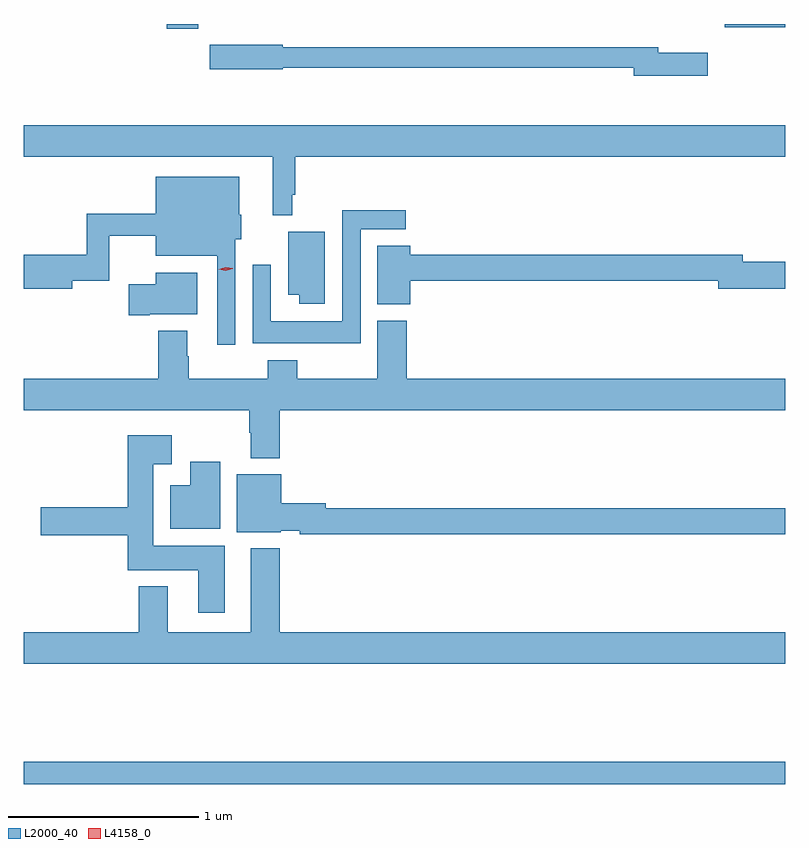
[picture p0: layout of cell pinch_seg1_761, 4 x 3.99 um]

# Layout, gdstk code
import gdstk
lib = gdstk.Library(unit=1e-6, precision=1e-09)
def R(c, l, rs):  # rectangles x0, y0, x1, y1
    for r in rs: c.add(gdstk.rectangle(r[:2], r[2:], *l))
def P(c, l, *ps):  # polygons
    for p in ps: c.add(gdstk.Polygon(p, *l))
L2000_40 = (2000, 40)
L4158_0 = (4158, 0)

pinch_seg1_761 = lib.new_cell('pinch_seg1_761')
R(pinch_seg1_761, L2000_40, [(779.521,521.796,783.521,521.912), (780.272,525.764,780.438,525.788), (783.202,525.772,783.521,525.788)])
P(pinch_seg1_761, L2000_40, [(783.115,525.637),(782.854,525.637),(782.854,525.666),(780.882,525.666),(780.882,525.679),(780.498,525.679),(780.498,525.55),(780.882,525.55),(780.882,525.558),(782.726,525.558),(782.726,525.515),(783.115,525.515)],
  [(780.932,524.89),(780.947,524.89),(780.947,525.092),(783.521,525.092),(783.521,525.256),(779.521,525.256),(779.521,525.092),(780.83,525.092),(780.83,524.783),(780.932,524.783)],
  [(780.633,524.657),(780.664,524.657),(780.664,524.787),(780.652,524.787),(780.652,524.986),(780.215,524.986),(780.215,524.791),(779.851,524.791),(779.851,524.576),(779.521,524.576),(779.521,524.398),(779.776,524.398),(779.776,524.44),(779.97,524.44),(779.97,524.677),(780.215,524.677),(780.215,524.57),(780.537,524.57),(780.537,524.103),(780.633,524.103)],
  [(781.29,524.709),(781.528,524.709),(781.528,524.81),(781.194,524.81),(781.194,524.227),(780.819,524.227),(780.819,524.524),(780.723,524.524),(780.723,524.111),(781.29,524.111)],
  [(781.102,524.698),(780.911,524.698),(780.911,524.366),(780.968,524.366),(780.968,524.318),(781.102,524.318)],
  [(781.55,524.44),(783.17,524.44),(783.17,524.398),(783.521,524.398),(783.521,524.54),(783.298,524.54),(783.298,524.576),(781.55,524.576),(781.55,524.624),(781.379,524.624),(781.379,524.315),(781.55,524.315)],
  [(780.184,524.264),(780.433,524.264),(780.433,524.482),(780.215,524.482),(780.215,524.422),(780.072,524.422),(780.072,524.257),(780.184,524.257)],
  [(780.866,523.76),(783.521,523.76),(783.521,523.924),(781.532,523.924),(781.532,524.23),(781.379,524.23),(781.379,523.924),(780.957,523.924),(780.957,524.023),(780.802,524.023),(780.802,523.924),(780.387,523.924),(780.387,524.042),(780.379,524.042),(780.379,524.176),(780.227,524.176),(780.227,523.924),(779.521,523.924),(779.521,523.76),(780.706,523.76),(780.706,523.64),(780.713,523.64),(780.713,523.508),(780.866,523.508)],
  [(780.577,523.048),(780.202,523.048),(780.202,523.475),(780.298,523.475),(780.298,523.627),(780.068,523.627),(780.068,523.25),(779.61,523.25),(779.61,523.103),(780.068,523.103),(780.068,522.92),(780.437,522.92),(780.437,522.696),(780.577,522.696)],
  [(780.553,523.489),(780.395,523.489),(780.395,523.366),(780.29,523.366),(780.29,523.136),(780.553,523.136)],
  [(783.521,523.244),(781.108,523.244),(781.108,523.27),(780.874,523.27),(780.874,523.423),(780.641,523.423),(780.641,523.118),(780.87,523.118),(780.87,523.127),(780.97,523.127),(780.97,523.108),(783.521,523.108)],
  [(783.521,522.592),(780.866,522.592),(780.866,523.033),(780.713,523.033),(780.713,522.592),(780.277,522.592),(780.277,522.835),(780.125,522.835),(780.125,522.592),(779.521,522.592),(779.521,522.428),(783.521,522.428)])
P(pinch_seg1_761, L4158_0, [(780.583,524.491),(780.546,524.499),(780.546,524.499),(780.546,524.5),(780.582,524.511),(780.618,524.504),(780.618,524.503),(780.618,524.503)])

lib.write_gds('pinch_seg1_761.gds')
